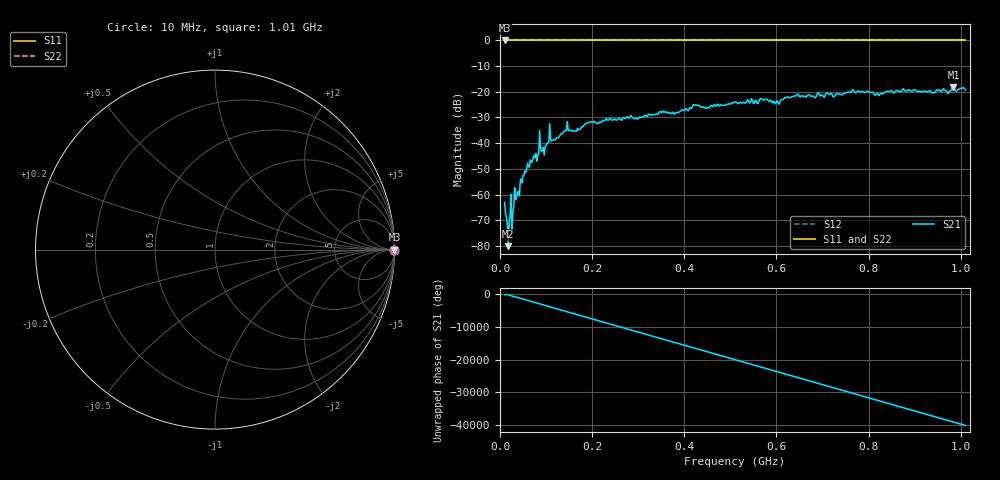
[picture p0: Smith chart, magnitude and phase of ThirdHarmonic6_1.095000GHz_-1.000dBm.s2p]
! 8/16/2025 10:14:10 AM
! C:\ANRITSUVNA\TEMP\TEMP.S2P
! CHANNEL.1
! TR.MEASUREMENT
! RAW.DATA
! RF.CORRECTION.OFF
! AVERAGING.OFF
! IF.BANDWIDTH: 5KHZ
! SWEEPTYPE:  FREQ.SWEEP(Linear)
! Reference Plane Port Info
! PORT:  PORT1  PORT2
! DISTANCE:  0  m  0  m
! TIME:  0  s  0  s
! PHASE.OFFSET:  0  deg.  0  deg.
! LOSS:  0  dB  0  dB
! REF.LOSS:  0  dB  0  dB
! REF.FREQ:  0  Hz  0  Hz
! Power Info
! POWER:  -20  dBm  -20  dBm
! EFF.POWER:  -20  dBm  -20  dBm
! SOURCE.ATTEN:  0  dB  0  dB
! TEST.ATTEN:  0  dB  0  dB
# GHZ S RI R 50.0
! FREQ.GHZ  S11RE  S11IM  S21RE  S21IM  S12RE  S12IM  S22RE  S22IM
!; PortSelection: Port_12
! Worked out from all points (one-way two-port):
!   501 points, 10 MHz to 1.01 GHz, reference 50 ohm
!   highest |S21| = -18.15 dB at 984 MHz (marker M1); lowest = -80.1 dB at 18 MHz (marker M2)
!   lowest |S11| = 0.0 dB at 10 MHz (marker M3)
!   |S11| at or under -10 dB: nowhere
!   |S22| runs from 0.0 to 0.0 dB; largest |S21 - S12| = 1.1
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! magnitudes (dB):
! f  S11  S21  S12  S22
! 10 MHz  0.0  -63.0  0.0  0.0
! 14 MHz  0.0  -69.1  0.0  0.0
! 18 MHz  0.0  -80.1  0.0  0.0
! 22 MHz  0.0  -68.2  0.0  0.0
! 34 MHz  0.0  -62.0  0.0  0.0
! 38 MHz  0.0  -59.3  0.0  0.0
! 48 MHz  0.0  -55.5  0.0  0.0
! 80 MHz  0.0  -47.1  0.0  0.0
! 86 MHz  0.0  -35.1  0.0  0.0
! 94 MHz  0.0  -41.7  0.0  0.0
! 106 MHz  0.0  -39.4  0.0  0.0
! 122 MHz  0.0  -38.1  0.0  0.0
! 142 MHz  0.0  -35.0  0.0  0.0
! 178 MHz  0.0  -33.5  0.0  0.0
! 344 MHz  0.0  -28.4  0.0  0.0
! 510 MHz  0.0  -23.9  0.0  0.0
! 602 MHz  0.0  -23.5  0.0  0.0
! 644 MHz  0.0  -21.2  0.0  0.0
! 678 MHz  0.0  -21.8  0.0  0.0
! 844 MHz  0.0  -19.9  0.0  0.0
! 984 MHz  0.0  -18.1  0.0  0.0
! 1.01 GHz  0.0  -19.3  0.0  0.0
